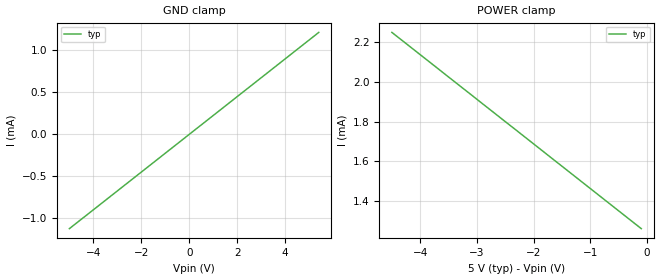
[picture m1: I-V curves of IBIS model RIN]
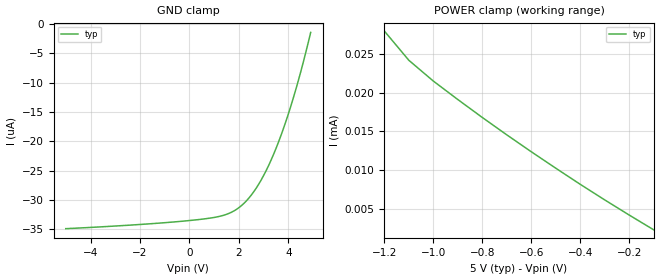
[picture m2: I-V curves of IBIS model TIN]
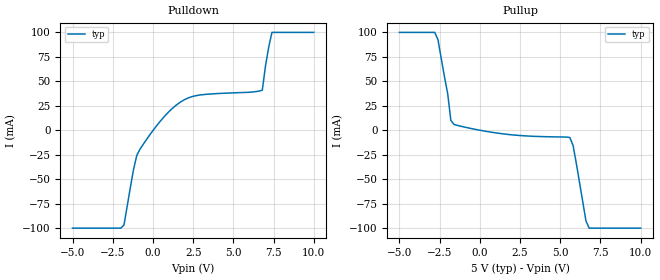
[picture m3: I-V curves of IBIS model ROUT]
| IBIS file max232.ibs created at Maxim Integrated Products
[IBIS ver]   2.1
[File name]   max232.ibs
[File Rev]   1.0
[Date]   September 24, 2002
[Source]   Data was acquired from HSpice simulation and bench
   measurements. Rise and fall ramps were taken through
   HSpice simulation and IV curves were taken on the bench
   using a Semiconductor Parameter Analyzer.
[Notes]   This is an EIA-TIA RS232 Transceiver.
[Disclaimer] Maxim Integrated Products hereby grants the user of this
                 IBIS model a non-exclusive, nontransferable license to use
                 this IBIS model under the following terms. Before using
                 this IBIS model, the user should read this license. If the
                 user does not accept these terms, the IBIS model should be
                 returned to Maxim Integrated Products within 30 days.
                 The user is granted this license only to use the IBIS model
                 and is not granted rights to sell, load, rent, lease or
                 license the IBIS model in whole or in part, or in modified
                 form to anyone other than user. User may modify the IBIS
                 model to suit its specific applications but rights to
                 derivative works and such modifications shall belong to
                 Maxim Integrated Products. This IBIS model is provided on
                 an "AS IS" basis and Maxim Integrated Products makes
                 absolutely no warranty with respect to the information
                 contained herein.MAXIM INTEGRATED PRODUCTS DISCLAIMS AND
                 CUSTOMER WAIVES ALL WARRANTIES, EXPRESS OR IMPLIED,
                 INCLUDING WARRANTIES OF MERCHANTABILITY OR FITNESS FOR A
                 PARTICULAR PURPOSE. The entire risk as to quality and
                 performance is with the Customer. ACCORDINGLY, IN NO EVENT
                 SHALL THE COMPANY BE LIABLE FOR ANY DAMAGES, WHETHER IN
                 CONTRACT OR TORT,INCLUDING ANY LOST PROFITS OR OTHER
                 INCIDENTAL, CONSEQUENTIAL, EXEMPLARY, OR PUNITIVE DAMAGES
                 ARISING OUT OF THE USE OR APPLICATION OF THE IBIS model
                 provided in this package.Further, Maxim Integrated Products
                 reserves the right to make changes without notice to any
                 product herein to improve reliability, function, or design.
                 Maxim Integrated Products does not convey any license under
                 patent rights or any other intellectual property rights,
                 including those of third parties.
                 Maxim Integrated Products is not obligated to provide
                 maintenance or support for the licensed IBIS model.
[Copyright]   Copyright of Maxim Integrated Products.
|   Component MAX232
[Component]   MAX232
[Manufacturer]   Maxim Integrated Products
[Package]
| variable   typ   min   max
R_pkg   48.9m   45.4m   55.5m
L_pkg   1.80nH   1.57nH   2.19nH
C_pkg   0.319pF   0.252pF   0.419pF
[Pin]  signal_name   model_name   R_pin   L_pin   C_pin
|1   C1+   C1N
|2   V+   V+
|3   C1-   C1N
|4   C2+   C2P
|5   C2-   C2N
|6   V-   V-
7   T2OUT   TOUT
8   R2IN   RIN
9   R2OUT   ROUT
10   T2IN   TIN
11   T1IN   TIN
12   R1OUT   ROUT
13   R1IN   RIN
14   T1OUT   TOUT
15   GND   GND
16   VCC   POWER
| Models and submodels in the file (4): RIN (Input), TIN (Input), ROUT (Output), TOUT (Output)
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|   Driver Receiver Input
[Model]   RIN
|Signals   R1IN, R2IN
Model_type   Input
Enable   Active-High
Vinl = 0.8V
Vinh = 2.0V
C_comp   0.96pF   0.53pF   1.60pF
[Temperature Range]   25   -40   85
[Voltage Range]   5.00V   4.50V   5.50V
[POWER Clamp Reference]   5.00V   4.50V   5.50V
[GND Clamp Reference]   0.00V   0.00V   0.00V
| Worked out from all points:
|   GND clamp passes 1 mA (typ) near -4.44 V on its own axis
[POWER_clamp]
| Note that the[POWER_clamp]voltage table is referenced to Vcc
| and is calculated using Vtable=Vcc - Vmeasured.
| V(V)  I(typ)   I(min)  I(max)
-4.5V     2.25mA     NA         NA
-2.3V     1.755mA    NA         NA
-1.7V     1.62mA     NA         NA
-100mV    1.26mA     NA         NA
[GND_clamp]
| Note that the[GND_clamp]voltage table is referenced to Gnd.
| V(V)  I(typ)   I(min)  I(max)
-5V       -1.127mA   NA         NA
-1V       -226.5uA   NA         NA
5V        1.125mA    NA         NA
5.4V      1.215mA    NA         NA
|   Driver Transmitter Input
[Model]   TIN
|Signals   T1IN, T2IN
Model_type   Input
Enable   Active-High
Vinl = 0.8V
Vinh = 2.0V
C_comp   0.96pF   0.53pF   1.60pF
[Temperature Range]   25   -40   85
[Voltage Range]   5.00V   4.50V   5.50V
[POWER Clamp Reference]   5.00V   4.50V   5.50V
[GND Clamp Reference]   0.00V   0.00V   0.00V
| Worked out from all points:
|   POWER clamp passes 1 mA (typ) near -1.75 V on its own axis
[POWER_clamp]
| Note that the[POWER_clamp]voltage table is referenced to Vcc
| and is calculated using Vtable=Vcc - Vmeasured.
| Also, the Semiconductor Parameter Analyzer (Force and Sense)
| clamps the supply current to 100mA to protect the system.
| V(V)  I(typ)   I(min)  I(max)
-5V       100mA      NA         NA
-1.2V     27.99uA    NA         NA
-1.1V     24.2uA     NA         NA
-1V       21.51uA    NA         NA
-900mV    19.12uA    NA         NA
-700mV    14.55uA    NA         NA
-500mV    10.23uA    NA         NA
-300mV    6.119uA    NA         NA
-100mV    2.248uA    NA         NA
[GND_clamp]
| Note that the[GND_clamp]voltage table is referenced to Gnd.
| V(V)  I(typ)   I(min)  I(max)
-5V       -34.92uA   NA         NA
700mV     -33.19uA   NA         NA
1.5V      -32.47uA   NA         NA
2.1V      -30.99uA   NA         NA
2.5V      -29.18uA   NA         NA
2.8V      -27.32uA   NA         NA
3.2V      -24.14uA   NA         NA
3.5V      -21.21uA   NA         NA
3.9V      -16.58uA   NA         NA
4.2V      -12.57uA   NA         NA
4.5V      -8.113uA   NA         NA
4.9V      -1.421uA   NA         NA
|   Driver Receiver Output
[Model]   ROUT
|Signals   R1OUT, R2OUT
Model_type   Output
Polarity   Inverting
Vmeas = 2.5V
C_comp   0.96pF   0.53pF   1.60pF
[Temperature Range]   25   -40   85
[Voltage Range]   5.00V   4.50V   5.50V
[Pullup Reference]   5.00V   4.50V   5.50V
[Pulldown Reference]   0.00V   0.00V   0.00V
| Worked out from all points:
|   slope of the pulldown table from 0 to 0.75 V, typ, clamps not added: 49.8 ohm
|   slope of the pullup table from 0 to 0.75 V, typ, clamps not added: 357 ohm
[Pullup]
| Note that the[Pulldown]voltage table is referenced to Vcc
| and is calculated using Vtable=Vcc - Vmeasured.
| Also, the Semiconductor Parameter Analyzer (Force and Sense)
| clamps the supply current to 100mA to protect the system.
| V(V)  I(typ)   I(min)  I(max)
-5V       100mA      NA         NA
-2.8V     100mA      NA         NA
-2.6V     92.52mA    NA         NA
-2V       37.69mA    NA         NA
-1.8V     10.16mA    NA         NA
-1.6V     5.869mA    NA         NA
1.8V      -4.34mA    NA         NA
5.6V      -7.401mA   NA         NA
5.8V      -15.56mA   NA         NA
6.6V      -92.54mA   NA         NA
6.8V      -100mA     NA         NA
10V       -100mA     NA         NA
[Pulldown]
| Note that the[Pulldown]voltage table is referenced to Gnd.
| Also, the Semiconductor Parameter Analyzer (Force and Sense)
| clamps the supply current to 100mA to protect the system.
| V(V)  I(typ)   I(min)  I(max)
-5V       -100mA     NA         NA
-2V       -100mA     NA         NA
-1.8V     -96.79mA   NA         NA
-1.2V     -39.62mA   NA         NA
-1V       -25.53mA   NA         NA
0V        -313uA     NA         NA
1V        19.07mA    NA         NA
2.6V      35.07mA    NA         NA
6.8V      40.91mA    NA         NA
7V        65.78mA    NA         NA
7.4V      100mA      NA         NA
10V       100mA      NA         NA
[Ramp]
| variable   typ   min   max
dV/dt_r   87.66V/1uS   49.96V/1uS   144.89V/1uS
dV/dt_f   17.94V/1uS   11.06V/1uS   28.81V/1uS
R_load = 7Kohms
|End [Model] ROUT
